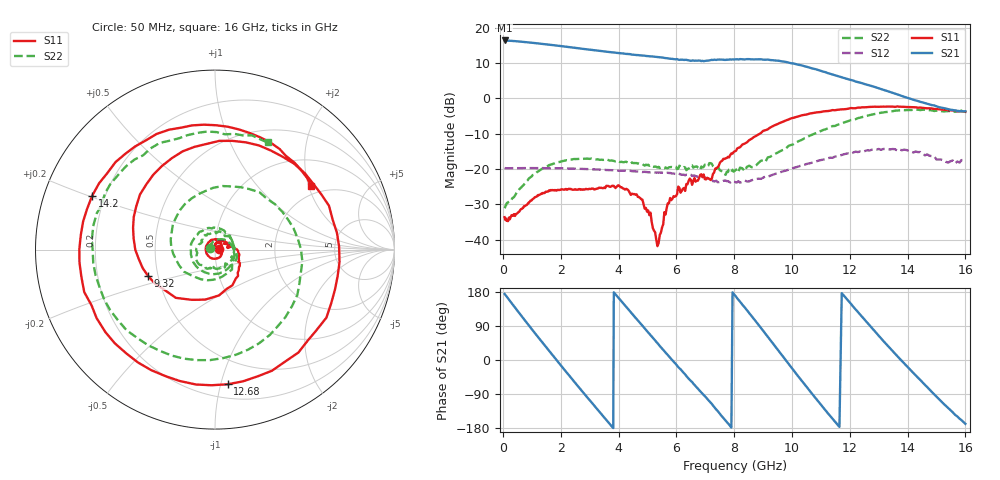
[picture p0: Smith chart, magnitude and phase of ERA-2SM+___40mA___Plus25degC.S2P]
! Mini-Circuits
! S2P DATA File Format
! Type: MMIC Amplifier
! Model: ERA-2SM  Reference Data:RDF-874AA
! Note: All S Parameters are in dB deg format
! TEST CONDITIONS: INPUT POWER = -20dBm, Icc = 40mA, Vd = 3.40V @Temperature = +25degC
! 401 Frequency points
# MHz S DB R 50
!  FREQ  dB(S11)  PHS(S11)  dB(S21)  PHS(S21)  dB(S12)  PHS(S12)  dB(S22)  PHS(S22)
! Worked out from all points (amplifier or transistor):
!   401 points, 50 MHz to 16 GHz, reference 50 ohm
!   highest |S21| = 16.3 dB at 50 MHz (marker M1)
!   |S21| within 3 dB of that: start of sweep to 3.397 GHz
!   unconditionally stable (mu >= 1): start of sweep to 10.37 GHz; 15.09 GHz to end of sweep
!   at 1.37 GHz: K = 1.12, MAG = 15.5 dB, |S12| = -19.8 dB
!   at 4.1 GHz: K = 1.40, MAG = 12.8 dB, |S12| = -20.5 dB
!   at 16 GHz: K = 1.50, MAG = 2.7 dB, |S12| = -17.5 dB
!   S11 on the Smith chart (normalised r, x): 50 MHz: 1.04, +0.00; 9.32 GHz: 0.44, -0.16; 12.68 GHz: 0.30, -1.05; 14.2 GHz: 0.15, +0.20; 16 GHz: 1.71, +2.07
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50  -33.63 5.4  16.34 174.4  -19.71 -4.1  -31.10 165.8
830  -30.07 -3.5  15.84 97.0  -19.77 -58.0  -23.32 58.3
1630  -26.09 -56.1  15.12 20.2  -19.80 -114.5  -18.82 -21.4
2110  -25.87 -100.5  14.65 -24.8  -19.84 -148.5  -17.71 -66.0
2710  -25.77 -164.4  14.03 -80.2  -19.97 169.0  -17.16 -119.8
3330  -25.27 132.7  13.41 -136.6  -20.16 124.7  -17.40 -174.0
3850  -25.06 82.5  12.93 176.8  -20.37 87.9  -17.79 141.0
4620  -27.18 29.5  12.22 108.1  -20.73 32.8  -18.32 79.4
5380  -40.99 52.9  11.61 41.0  -21.06 -21.0  -19.40 22.8
6060  -24.98 64.4  10.93 -18.7  -21.21 -70.9  -19.89 -22.2
6820  -21.67 27.1  10.62 -82.9  -22.07 -124.8  -20.27 -94.8
7380  -19.78 4.1  10.83 -130.8  -23.32 -162.9  -19.97 -169.5
8060  -14.86 -45.5  11.03 167.3  -23.81 156.1  -20.20 100.4
8760  -10.62 -108.3  11.01 100.8  -22.83 116.0  -18.95 1.7
9320  -7.95 -158.4  10.77 45.4  -21.68 81.5  -16.17 -74.5
9880  -6.01 151.2  10.08 -10.6  -20.21 40.8  -13.46 -144.6
10760  -4.13 74.0  8.33 -95.4  -18.05 -27.4  -10.08 114.8
11560  -3.28 7.9  6.32 -169.3  -16.38 -93.2  -7.55 37.1
12680  -2.46 -84.7  3.63 91.9  -14.77 169.7  -4.77 -64.9
13400  -2.33 -143.0  1.75 30.5  -14.46 104.9  -3.74 -125.0
14200  -2.53 156.3  -0.43 -34.1  -15.35 35.8  -3.25 175.4
16000  -3.85 33.7  -3.68 -168.4  -17.48 -82.9  -3.54 63.9
